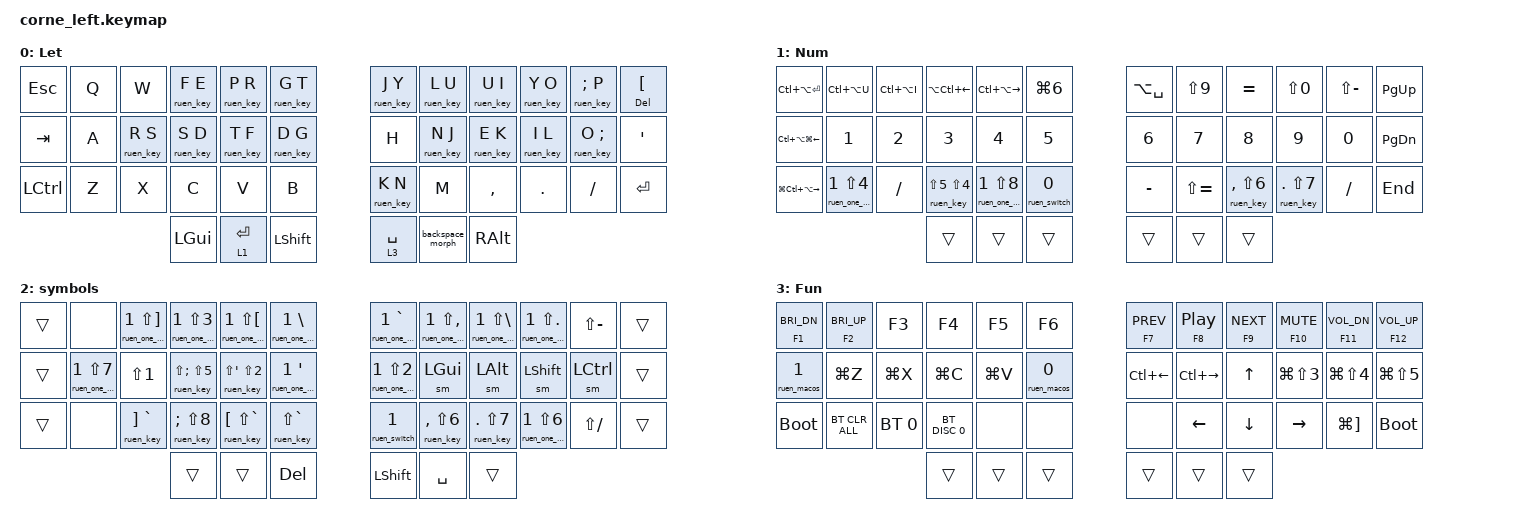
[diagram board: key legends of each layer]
#include <behaviors/ruen.dtsi>
#include <behaviors.dtsi>
#include <dt-bindings/zmk/bt.h>
#include <dt-bindings/zmk/rgb.h>
#include <dt-bindings/zmk/keys.h>

/ {
    behaviors {
        ht: hold_tap {
            label = "HOLD_TAP_LETTERS";
            compatible = "zmk,behavior-hold-tap";
            #binding-cells = <2>;
            flavor = "tap-preferred";
            tapping-term-ms = <220>;
            quick-tap-ms = <150>;
            global-quick-tap;
            bindings = <&kp>, <&kp>;
        };

        sm: sticky_mod {
            compatible = "zmk,behavior-sticky-key";
            label = "STICKY_MOD";
            bindings = <&kp>;
            #binding-cells = <1>;
            release-after-ms = <5000>;
            quick-release;
            ignore-modifiers;
        };

        bs_morph: backspace_morph {
            compatible = "zmk,behavior-mod-morph";
            label = "BACKSPACE_MORPH";
            #binding-cells = <0>;
            bindings = <&lt 2 BACKSPACE>, <&lt 2 LS(BACKSPACE)>; // проверь LS()
            mods = <(MOD_LSFT)>;
        };
    };

    combos {
        compatible = "zmk,combos";

        tab {
            bindings = <&kp TAB>;
            key-positions = <15 16 14>;
        };

        enter {
            bindings = <&kp ENTER>;
            key-positions = <19 20 21>;
        };

        comboL4 {
            bindings = <&mo 4>;
            key-positions = <38 39>;
        };
    };

    macros {
        ruen_to_en: ruen_to_en {
            compatible = "zmk,behavior-macro";
            #binding-cells = <0>;
            bindings = <&kp LG(N8)>;
        };

        ruen_to_ru: ruen_to_ru {
            compatible = "zmk,behavior-macro";
            #binding-cells = <0>;
            bindings = <&kp LG(N9)>;
        };
    };

    keymap {
        compatible = "zmk,keymap";

        letters {
            display-name = "Let";
            bindings = <
&kp ESC           &kp Q   &kp W                &ruen_key F E        &ruen_key P R       &ruen_key G T               &ruen_key J Y         &ruen_key L U       &ruen_key U I    &ruen_key Y O       &ruen_key SEMICOLON P      &ht DELETE LEFT_BRACKET
&kp TAB           &kp A   &ruen_key R S        &ruen_key S D        &ruen_key T F       &ruen_key D G               &kp H                 &ruen_key N J       &ruen_key E K    &ruen_key I L       &ruen_key O SEMICOLON      &kp SQT
&kp LEFT_CONTROL  &kp Z   &kp X                &kp C                &kp V               &kp B                       &ruen_key K N         &kp M               &kp COMMA        &kp DOT             &kp SLASH                  &kp ENTER
                  &kp LGUI                     &lt 1 ENTER                              &kp LEFT_SHIFT                                    &lt 3 SPACE                          &backspace_morph    &kp RALT
            >;
        };

        numbers {
            display-name = "Num";
            bindings = <
&kp LC(LA(ENTER))            &kp LC(LA(U))             &kp LC(LA(I))     &kp LA(LC(LEFT_ARROW))   &kp LC(LA(RIGHT_ARROW))    &kp LG(NUMBER_6)           &kp LA(SPACE)   &kp LS(N9)      &kp EQUAL               &kp LS(N0)                 &kp LS(MINUS)        &kp PAGE_UP
&kp LC(LA(LG(LEFT_ARROW)))   &kp NUMBER_1              &kp NUMBER_2      &kp NUMBER_3             &kp NUMBER_4               &kp NUMBER_5               &kp NUMBER_6    &kp N7          &kp NUMBER_8            &kp NUMBER_9               &kp NUMBER_0         &kp PAGE_DOWN
&kp LG(LC(LA(RIGHT_ARROW)))  &ruen_one_key 1 LS(N4)    &kp SLASH         &ruen_key LS(N5) LS(N4)  &ruen_one_key 1 LS(N8)     &ruen_switch 0             &kp MINUS       &kp LS(EQUAL)   &ruen_key COMMA LS(N6)  &ruen_key PERIOD LS(N7)    &kp SLASH            &kp END
                             &trans                    &trans            &trans                                                                                                    &trans          &trans                &trans
            >;
        };

        symbols {
            bindings = <
&trans    &none                   &ruen_one_key 1 LS(RIGHT_BRACKET)  &ruen_one_key 1 LS(N3)          &ruen_one_key 1 LS(LEFT_BRACKET)  &ruen_one_key 1 BACKSLASH    &ruen_one_key 1 GRAVE   &ruen_one_key 1 LS(COMMA)  &ruen_one_key 1 LS(BACKSLASH)  &ruen_one_key 1 LS(PERIOD)  &kp LS(MINUS)   &trans
&trans    &ruen_one_key 1 LS(N7)  &kp LS(N1)                         &ruen_key LS(SEMICOLON) LS(N5)  &ruen_key LS(SQT) LS(N2)          &ruen_one_key 1 SQT          &ruen_one_key 1 LS(N2)  &sm LEFT_GUI               &sm LEFT_ALT                   &sm LEFT_SHIFT              &sm LCTRL       &trans
&trans    &none                   &ruen_key RIGHT_BRACKET GRAVE      &ruen_key SEMICOLON LS(N8)      &ruen_key LEFT_BRACKET LS(GRAVE)  &ruen_key LS(GRAVE)          &ruen_switch 1          &ruen_key COMMA LS(N6)     &ruen_key PERIOD LS(N7)        &ruen_one_key 1 LS(N6)      &kp LS(SLASH)   &trans
                            &trans                   &trans                                     &kp DEL                           &kp LEFT_SHIFT               &kp SPACE               &trans
            >;
        };

        functions {
            display-name = "Fun";
            bindings = <
&ht F1 C_BRI_DN  &ht F2 C_BRI_UP  &kp F3         &kp F4         &kp F5           &kp F6              &ht F7 C_PREV       &ht F8 C_PLAY_PAUSE  &ht F9 C_NEXT   &ht F10 C_MUTE        &ht F11 C_VOL_DN       &ht F12 C_VOL_UP
&ruen_macos 1    &kp LG(Z)        &kp LG(X)      &kp LG(C)      &kp LG(V)        &ruen_macos 0       &kp LC(LEFT_ARROW)  &kp LC(RIGHT_ARROW)  &kp UP_ARROW    &kp LG(LS(NUMBER_3))  &kp LG(LS(NUMBER_4))   &kp LG(LS(N5))
&bootloader      &bt BT_CLR_ALL   &bt BT_SEL 0   &bt BT_DISC 0  &none            &none               &none               &kp LEFT_ARROW       &kp DOWN_ARROW  &kp RIGHT_ARROW       &kp LG(RIGHT_BRACKET)  &bootloader
                        &trans          &trans          &trans                                                                      &trans              &trans               &trans
            >;
        };
    };
};
